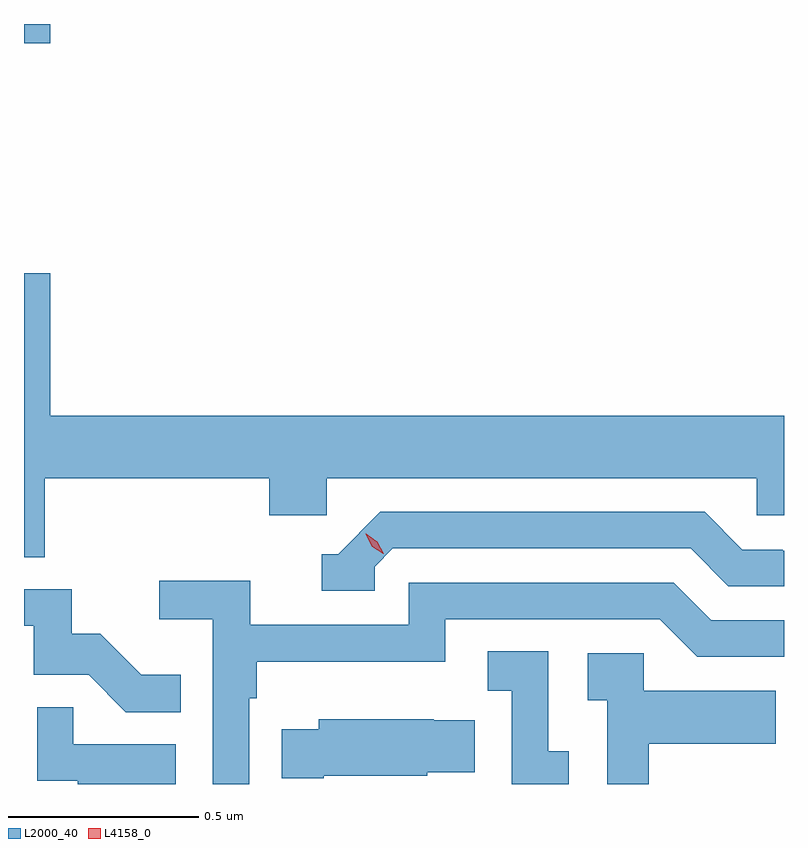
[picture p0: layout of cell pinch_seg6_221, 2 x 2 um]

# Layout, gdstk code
import gdstk
lib = gdstk.Library(unit=1e-6, precision=1e-09)
def R(c, l, rs):  # rectangles x0, y0, x1, y1
    for r in rs: c.add(gdstk.rectangle(r[:2], r[2:], *l))
def P(c, l, *ps):  # polygons
    for p in ps: c.add(gdstk.Polygon(p, *l))
L2000_40 = (2000, 40)
L4158_0 = (4158, 0)

pinch_seg6_221 = lib.new_cell('pinch_seg6_221')
R(pinch_seg6_221, L2000_40, [(1142.125,931.164,1142.194,931.215)])
P(pinch_seg6_221, L2000_40, [(1142.18,930.02),(1142.771,930.02),(1142.771,929.922),(1142.922,929.922),(1142.922,930.02),(1144.053,930.02),(1144.053,929.922),(1144.125,929.922),(1144.125,930.184),(1142.194,930.184),(1142.194,930.559),(1142.125,930.559),(1142.125,929.812),(1142.18,929.812)],
  [(1143.048,929.787),(1143.096,929.835),(1143.879,929.835),(1143.978,929.736),(1144.125,929.736),(1144.125,929.829),(1144.122,929.829),(1144.122,929.832),(1144.015,929.832),(1143.916,929.931),(1143.063,929.931),(1142.952,929.82),(1142.909,929.82),(1142.909,929.724),(1143.048,929.724)],
  [(1142.718,929.441),(1142.738,929.441),(1142.738,929.537),(1143.234,929.537),(1143.234,929.649),(1143.798,929.649),(1143.897,929.55),(1144.125,929.55),(1144.125,929.646),(1143.934,929.646),(1143.835,929.745),(1143.138,929.745),(1143.138,929.634),(1142.72,929.634),(1142.72,929.75),(1142.481,929.75),(1142.481,929.648),(1142.622,929.648),(1142.622,929.215),(1142.718,929.215)],
  [(1142.537,929.503),(1142.433,929.503),(1142.326,929.61),(1142.25,929.61),(1142.25,929.727),(1142.125,929.727),(1142.125,929.631),(1142.151,929.631),(1142.151,929.502),(1142.295,929.502),(1142.393,929.404),(1142.537,929.404)],
  [(1143.559,929.301),(1143.504,929.301),(1143.504,929.564),(1143.345,929.564),(1143.345,929.461),(1143.408,929.461),(1143.408,929.215),(1143.559,929.215)],
  [(1143.769,929.321),(1144.103,929.321),(1144.103,929.461),(1143.756,929.461),(1143.756,929.559),(1143.609,929.559),(1143.609,929.435),(1143.66,929.435),(1143.66,929.215),(1143.769,929.215)],
  [(1142.524,929.319),(1142.255,929.319),(1142.255,929.417),(1142.16,929.417),(1142.16,929.223),(1142.267,929.223),(1142.267,929.215),(1142.524,929.215)],
  [(1142.914,929.237),(1143.186,929.237),(1143.186,929.246),(1143.311,929.246),(1143.311,929.383),(1143.203,929.383),(1143.203,929.386),(1142.901,929.386),(1142.901,929.359),(1142.803,929.359),(1142.803,929.23),(1142.914,929.23)])
P(pinch_seg6_221, L4158_0, [(1143.071,929.821),(1143.041,929.84),(1143.024,929.872),(1143.024,929.873),(1143.025,929.873),(1143.055,929.853),(1143.072,929.821),(1143.072,929.821)])

lib.write_gds('pinch_seg6_221.gds')
